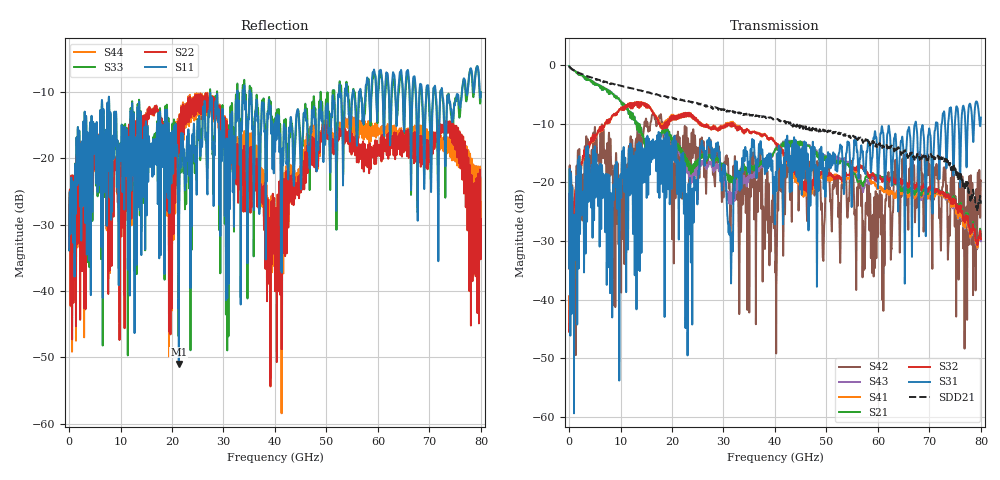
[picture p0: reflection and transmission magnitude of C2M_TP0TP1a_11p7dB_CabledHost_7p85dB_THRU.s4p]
!! Reference: shanbhag_3dj_03_2305.pdf
!! CHANNEL DESCRIPTION: TP0_TP1a C2M Channel, Cabled Host
!! MODEL DESCRIPTION: s4p, THRU
!! CONNECTOR DESCRIPTION: OSFP 200G OTB
!! MODEL STATUS: Developmental
!! PORT DEFINITIONS:
!! Port  1  ----->  Side A  Side B  <-----  Port  2
!! Port  3  ----->  Side A  Side B  <-----  Port  4
# HZ S MA R 50.000000
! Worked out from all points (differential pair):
!   8000 points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, 10 MHz to 80 GHz, reference 50 ohm
!   strongest paths, dB at 10 MHz, 20.01 GHz, 40.01 GHz, 60.01 GHz, 80 GHz:
!     S31: -34.6, -15.7, -24.8, -21.0, -8.9
!     S32: -45.5, -9.1, -13.3, -19.0, -29.7
!     S21: -0.2, -13.0, -14.3, -18.9, -29.2
!     S41: -45.5, -8.9, -13.2, -21.0, -29.6
!     S43: -0.2, -13.2, -14.3, -19.0, -30.0
!     S42: -34.7, -29.7, -27.8, -25.7, -19.7
!   taken as a pair (ports 1,3 in; 2,4 out), SDD21 dB: -0.1, -5.5, -9.2, -13.4, -23.6
!   lowest |S11| = -51.0 dB at 21.32 GHz (marker M1), VSWR 1.01, Z = 49.7 - j0.0116 ohm
!   |S11| at or under -10 dB: start of sweep to 32.66 GHz; 35.14 GHz to 52.46 GHz (17.32 GHz wide, 39.5 % of centre); 72.5 GHz to 76.34 GHz (3.844 GHz wide, 5.17 % of centre) (the widest 3 of 24)
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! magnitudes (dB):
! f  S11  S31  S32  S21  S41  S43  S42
! 10 MHz  -33.8  -34.6  -45.5  -0.2  -45.5  -0.2  -34.7
! 4.3 GHz  -16.5  -23.3  -12.4  -2.7  -12.4  -2.7  -16.8
! 21.32 GHz  -51.0  -29.7  -8.6  -14.5  -8.5  -15.0  -17.2
! 40.11 GHz  -14.9  -18.9  -13.4  -14.3  -13.4  -14.3  -34.0
! 43.79 GHz  -19.9  -13.7  -18.1  -13.7  -18.8  -13.7  -12.9
! 54.03 GHz  -10.6  -13.6  -18.7  -17.0  -19.3  -16.6  -25.8
! 80 GHz  -10.1  -8.9  -29.7  -29.2  -29.6  -30.0  -19.7
